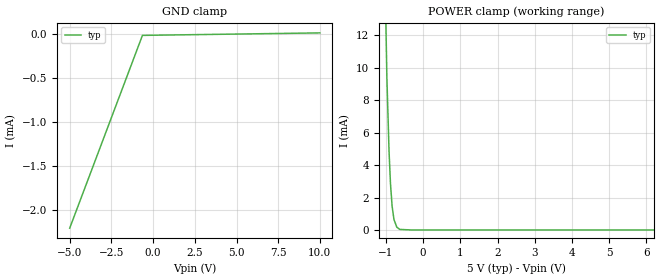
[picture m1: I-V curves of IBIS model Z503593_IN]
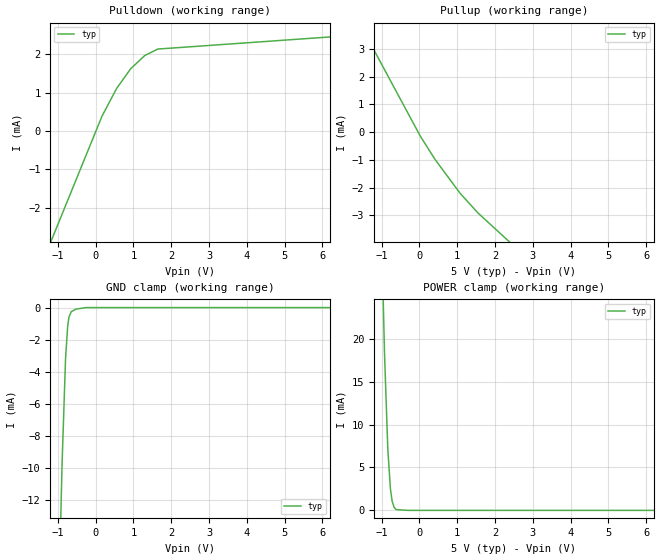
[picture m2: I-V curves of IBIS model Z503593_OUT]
| YOU ARE ONLY AUTHORIZED TO USE THIS SOFTWARE
| ACCORDING TO LICENSOR'S LICENSE RESTRICTIONS.
[IBIS Ver] 3.1
[File Name] mc14175bcl.ibs
[File Rev] 2.0
[Source] Measured and created by ICX Technology
[Date] Friday 7/14/00 9:07:53 AM
[Copyright]
| (C) COPYRIGHT 1993-2000
| MENTOR GRAPHICS CORPORATION
| ICX STANDARD LIBRARY, ICX PROJECT MODELING,
| ICX CUSTOM MODELING, ICX VENDOR MODEL
| ALL RIGHTS RESERVED.
| THE FOLLOWING ARE TRADEMARKS OR SERVICE MARKS OF
| MENTOR GRAPHICS CORPORATION:ICX (R), ICX STANDARD
| LIBRARY(R), ICX PROJECT MODELING(R), ICX CUSTOM
| MODELING(R), qualityIBIS(TM), MODELVIEWER(TM),
| AND MODELEDITOR(TM)
| ALL COPIES OF SOFTWARE, INCLUDING BUT NOT LIMITED TO
| ANY MODIFICATIONS, ENHANCEMENTS OR DERIVATIVE WORKS,
| MUST CONTAIN ALL MENTOR GRAPHICS CORPORATION'S
| NOTICES AND LEGENDS, INCLUDING THOSE EMBEDDED IN
| SOFTWARE AND THOSE AFFIXED TO SOFTWARE MEDIUM
| AND CONTAINER, AS RECEIVED FROM MENTOR GRAPHICS
| CORPORATION.
|  ZAP Model Builder 2.7
[Component] MC14175BCL
[Manufacturer] OnSemiconductor
[Package]
| variable   typ   min   max
R_pkg  .212ohms NA NA
L_pkg  4.758nH NA NA
C_pkg  1.944pF NA NA
[Pin] signal_name  model_name  R_pin  L_pin C_pin
1 _R Z503593_IN .224 7.258n 2.683p
2 Q0 Z503593_OUT .216 5.258n 2.19p
3 _Q0 Z503593_OUT .208 3.758n 1.697p
4 D0 Z503593_IN .2 2.758n 1.204p
5 D1 Z503593_IN .2 2.758n 1.204p
6 _Q1 Z503593_OUT .208 3.758n 1.697p
7 Q1 Z503593_OUT .216 5.258n 2.19p
8 VSS POWER .224 7.258n 2.683p
9 C Z503593_IN .224 7.258n 2.683p
10 Q2 Z503593_OUT .216 5.258n 2.19p
11 _Q2 Z503593_OUT .208 3.758n 1.697p
12 D2 Z503593_IN .2 2.758n 1.204p
13 D3 Z503593_IN .2 2.758n 1.204p
14 _Q3 Z503593_OUT .208 3.758n 1.697p
15 Q3 Z503593_OUT .216 5.258n 2.19p
16 VDD POWER .224 7.258n 2.683p
| Models and submodels in the file (2): Z503593_IN (Input), Z503593_OUT (Output)
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| (C) COPYRIGHT 1993-2000
| MENTOR GRAPHICS CORPORATION
| ICX STANDARD LIBRARY, ICX PROJECT MODELING,
| ICX CUSTOM MODELING, ICX VENDOR MODEL
| ALL RIGHTS RESERVED.
| THE FOLLOWING ARE TRADEMARKS OR SERVICE MARKS OF
| MENTOR GRAPHICS CORPORATION:ICX (R), ICX STANDARD
| LIBRARY(R), ICX PROJECT MODELING(R), ICX CUSTOM
| MODELING(R), qualityIBIS(TM), MODELVIEWER(TM),
| AND MODELEDITOR(TM)
| ALL COPIES OF SOFTWARE, INCLUDING BUT NOT LIMITED TO
| ANY MODIFICATIONS, ENHANCEMENTS OR DERIVATIVE WORKS,
| MUST CONTAIN ALL MENTOR GRAPHICS CORPORATION'S
| NOTICES AND LEGENDS, INCLUDING THOSE EMBEDDED IN
| SOFTWARE AND THOSE AFFIXED TO SOFTWARE MEDIUM
| AND CONTAINER, AS RECEIVED FROM MENTOR GRAPHICS
| CORPORATION.
| Model Application Version 1.89 2/18/99.
[Model] Z503593_IN
Model_type Input
Vinl = 1.500V
Vinh = 3.500V
C_comp 4.000pF NA NA
| variable typ   min   max
[Voltage Range] 5.000V NA NA
[GND Clamp Reference] 0.000V NA NA
[POWER Clamp Reference] 5.000V NA NA
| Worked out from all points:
|   POWER clamp passes 1 mA (typ) near -0.81 V on its own axis
[GND Clamp]
-5V       -2.206mA   NA         NA
-639.5mV  -12.79uA   NA         NA
10V       15.55uA    NA         NA
[POWER Clamp]
-5V       512mA      NA         NA
-976mV    9.436mA    NA         NA
-918mV    4.877mA    NA         NA
-879mV    2.857mA    NA         NA
-835mV    1.46mA     NA         NA
-785mV    643.4uA    NA         NA
-708mV    168.5uA    NA         NA
-630mV    35.45uA    NA         NA
-315mV    0A         NA         NA
10V       0A         NA         NA
| (C) COPYRIGHT 1993-2000
| MENTOR GRAPHICS CORPORATION
| ICX STANDARD LIBRARY, ICX PROJECT MODELING,
| ICX CUSTOM MODELING, ICX VENDOR MODEL
| ALL RIGHTS RESERVED.
| THE FOLLOWING ARE TRADEMARKS OR SERVICE MARKS OF
| MENTOR GRAPHICS CORPORATION:ICX (R), ICX STANDARD
| LIBRARY(R), ICX PROJECT MODELING(R), ICX CUSTOM
| MODELING(R), qualityIBIS(TM), MODELVIEWER(TM),
| AND MODELEDITOR(TM)
| ALL COPIES OF SOFTWARE, INCLUDING BUT NOT LIMITED TO
| ANY MODIFICATIONS, ENHANCEMENTS OR DERIVATIVE WORKS,
| MUST CONTAIN ALL MENTOR GRAPHICS CORPORATION'S
| NOTICES AND LEGENDS, INCLUDING THOSE EMBEDDED IN
| SOFTWARE AND THOSE AFFIXED TO SOFTWARE MEDIUM
| AND CONTAINER, AS RECEIVED FROM MENTOR GRAPHICS
| CORPORATION.
| Model Application Version 1.89 2/18/99.
[Model] Z503593_OUT
Model_type Output
Vref=0.000V
Rref=500.0Mohms
Cref=50.00pF
Vmeas=2.500V
C_comp 8.000pF NA NA
| variable typ   min   max
[Voltage Range] 5.000V NA NA
[POWER Clamp Reference] 5.000V NA NA
[Pullup Reference] 5.000V NA NA
[Pulldown Reference] 0.000V NA NA
[GND Clamp Reference] 0.000V NA NA
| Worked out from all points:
|   slope of the pulldown table from 0 to 0.75 V, typ, clamps not added: 536 ohm
|   slope of the pullup table from 0 to 0.75 V, typ, clamps not added: 494 ohm
|   GND clamp passes 1 mA (typ) near -0.73 V on its own axis
|   POWER clamp passes 1 mA (typ) near -0.72 V on its own axis
[GND Clamp]
-5V       -412.4mA   NA         NA
-887.8mV  -9.739mA   NA         NA
-795.9mV  -3.187mA   NA         NA
-739.4mV  -1.157mA   NA         NA
-706.4mV  -604uA     NA         NA
-646.7mV  -257.5uA   NA         NA
-517.5mV  -96.33uA   NA         NA
-258.7mV  0A         NA         NA
10V       0A         NA         NA
[Pulldown]
-5V       -12.13mA   NA         NA
166mV     380.2uA    NA         NA
557.9mV   1.113mA    NA         NA
927.7mV   1.623mA    NA         NA
1.304V    1.97mA     NA         NA
1.643V    2.136mA    NA         NA
10V       2.716mA    NA         NA
[Pullup]
-5V       12.57mA    NA         NA
24mV      -145.4uA   NA         NA
415mV     -987.7uA   NA         NA
1.079V    -2.208mA   NA         NA
1.553V    -2.918mA   NA         NA
10V       -13.48mA   NA         NA
[POWER Clamp]
-5V       765.6mA    NA         NA
-922mV    18.18mA    NA         NA
-835mV    7.106mA    NA         NA
-766mV    2.491mA    NA         NA
-720mV    1.057mA    NA         NA
-669mV    353.3uA    NA         NA
-615mV    86.94uA    NA         NA
-307.5mV  0A         NA         NA
10V       0A         NA         NA
[Ramp]
| variable typ min max
dV/dt_r 2.519/14.28n NA NA
dV/dt_f 2.519/18.03n NA NA
R_load = 2.500kOhms
